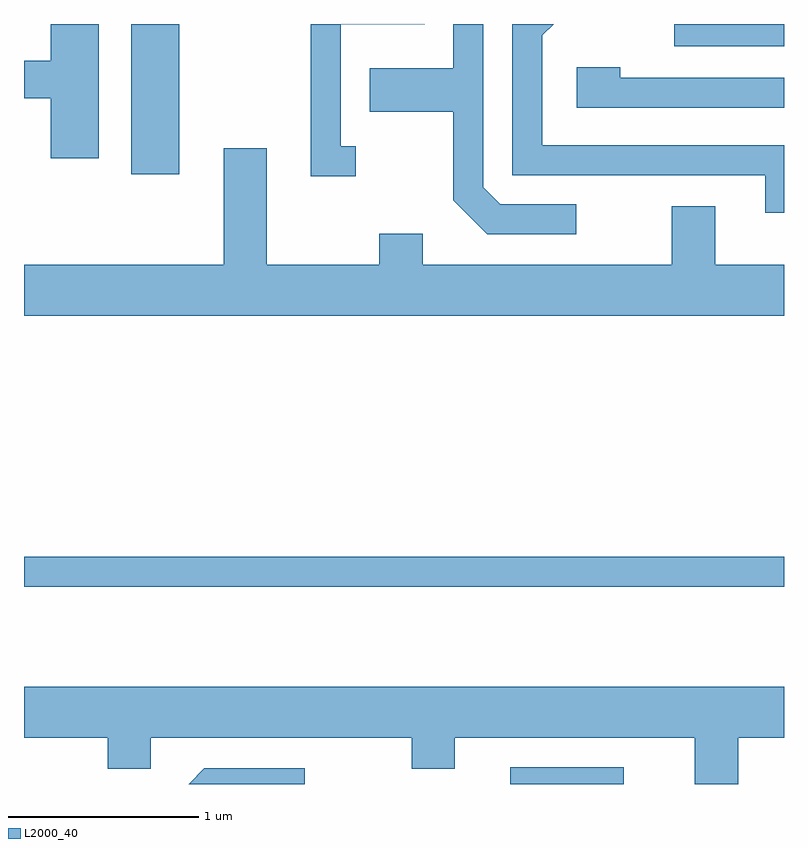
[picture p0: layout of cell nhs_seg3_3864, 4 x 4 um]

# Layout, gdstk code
import gdstk
lib = gdstk.Library(unit=1e-6, precision=1e-09)
def R(c, l, rs):  # rectangles x0, y0, x1, y1
    for r in rs: c.add(gdstk.rectangle(r[:2], r[2:], *l))
def P(c, l, *ps):  # polygons
    for p in ps: c.add(gdstk.Polygon(p, *l))
L2000_40 = (2000, 40)

nhs_seg3_3864 = lib.new_cell('nhs_seg3_3864')
R(nhs_seg3_3864, L2000_40, [(300.171,1227.892,300.768,1227.979), (297.611,1228.931,301.611,1229.089), (298.176,1231.101,298.429,1231.892), (301.033,1231.776,301.611,1231.892)])
P(nhs_seg3_3864, L2000_40, [(298.004,1231.892),(297.751,1231.892),(297.751,1231.699),(297.611,1231.699),(297.611,1231.501),(297.751,1231.501),(297.751,1231.186),(298.004,1231.186)],
  [(299.358,1231.249),(299.279,1231.249),(299.279,1231.891),(299.719,1231.891),(299.719,1231.892),(299.121,1231.892),(299.121,1231.091),(299.358,1231.091)],
  [(300.518,1230.944),(300.117,1230.944),(300.029,1231.032),(300.029,1231.892),(299.871,1231.892),(299.871,1231.659),(299.431,1231.659),(299.431,1231.431),(299.871,1231.431),(299.871,1230.964),(300.049,1230.786),(300.518,1230.786)],
  [(301.611,1231.254),(300.339,1231.254),(300.339,1231.834),(300.398,1231.892),(300.181,1231.892),(300.181,1231.096),(301.511,1231.096),(301.511,1230.898),(301.611,1230.898)],
  [(301.611,1231.609),(300.749,1231.609),(300.749,1231.664),(300.521,1231.664),(300.521,1231.451),(301.611,1231.451)],
  [(301.611,1230.624),(301.249,1230.624),(301.249,1230.934),(301.021,1230.934),(301.021,1230.624),(299.709,1230.624),(299.709,1230.789),(299.481,1230.789),(299.481,1230.624),(298.889,1230.624),(298.889,1231.239),(298.661,1231.239),(298.661,1230.624),(297.611,1230.624),(297.611,1230.356),(301.611,1230.356)],
  [(301.369,1228.136),(301.611,1228.136),(301.611,1228.404),(297.611,1228.404),(297.611,1228.136),(298.051,1228.136),(298.051,1227.971),(298.279,1227.971),(298.279,1228.136),(299.651,1228.136),(299.651,1227.971),(299.879,1227.971),(299.879,1228.136),(301.141,1228.136),(301.141,1227.892),(301.369,1227.892)],
  [(299.088,1227.974),(298.559,1227.974),(298.477,1227.892),(299.088,1227.892)])

lib.write_gds('nhs_seg3_3864.gds')
